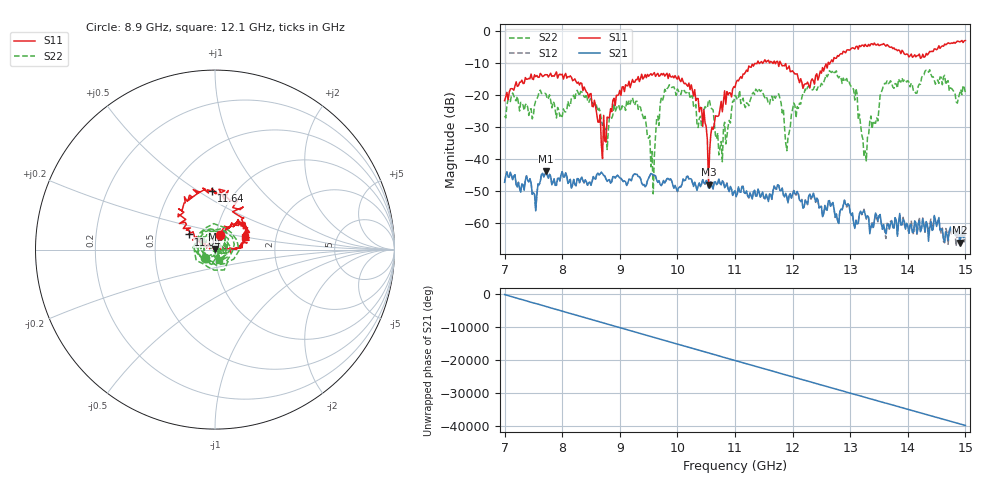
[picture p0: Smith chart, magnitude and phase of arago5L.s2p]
!Keysight Technologies,N5242B,MY47200105,A.14.00.23
!Date: Friday, April 26, 2024 11:26:00
!Correction: S11(C  2-Port  )
!S21(C  2-Port  )
!S12(C  2-Port  )
!S22(C  2-Port  )
!S2P File: Measurement: :
# Hz S  RI  R 50
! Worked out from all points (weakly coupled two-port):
!   401 points, 7 GHz to 15 GHz, reference 50 ohm
!   highest |S21| = -43.92 dB at 7.72 GHz (marker M1); lowest = -66.2 dB at 14.9 GHz (marker M2)
!   lowest |S11| = -48.0 dB at 10.54 GHz (marker M3), VSWR 1.01, Z = 50.2 + j0.356 ohm
!   |S11| at or under -10 dB: start of sweep to 11.38 GHz; 11.41597 GHz to 11.43001 GHz (14.05 MHz wide, 0.123 % of centre); 11.79 GHz to 12.62 GHz (823 MHz wide, 6.74 % of centre) (the widest 3 of 8)
!   |S22| runs from -51.0 to -12.1 dB; largest |S21 - S12| = 0.00022
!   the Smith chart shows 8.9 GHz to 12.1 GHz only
!   S11 on the Smith chart (normalised r, x): 8.9 GHz: 1.05, +0.18; 11.04 GHz: 0.73, +0.13; 11.64 GHz: 0.78, +0.57; 12.1 GHz: 1.38, +0.21
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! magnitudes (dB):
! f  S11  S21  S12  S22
! 7 GHz  -21.8  -47.3  -47.3  -26.6
! 7.72 GHz  -13.7  -43.9  -44.0  -19.7
! 8.34 GHz  -16.4  -45.7  -45.8  -19.0
! 8.72 GHz  -26.4  -45.2  -45.1  -28.7
! 8.9 GHz  -21.0  -45.5  -45.6  -22.6
! 9.32 GHz  -14.2  -45.5  -45.5  -24.5
! 9.58 GHz  -13.4  -45.1  -45.1  -51.0
! 9.68 GHz  -14.1  -46.9  -46.8  -29.5
! 10.26 GHz  -18.5  -47.3  -47.4  -20.3
! 10.54 GHz  -48.0  -49.1  -49.2  -21.5
! 10.74 GHz  -24.4  -47.8  -47.6  -36.7
! 11 GHz  -17.7  -50.0  -50.1  -20.1
! 11.04 GHz  -15.4  -51.0  -50.9  -21.5
! 11.64 GHz  -9.7  -52.6  -52.7  -20.3
! 11.9 GHz  -11.9  -51.8  -52.1  -37.4
! 12.1 GHz  -14.9  -51.1  -50.8  -24.2
! 12.34 GHz  -14.9  -51.9  -51.8  -18.4
! 12.96 GHz  -5.8  -54.0  -54.4  -16.2
! 13.26 GHz  -4.1  -57.3  -57.4  -37.5
! 13.68 GHz  -5.0  -61.9  -62.0  -16.2
! 14.9 GHz  -3.4  -66.2  -64.6  -19.5
! 15 GHz  -2.9  -61.4  -62.0  -19.2
